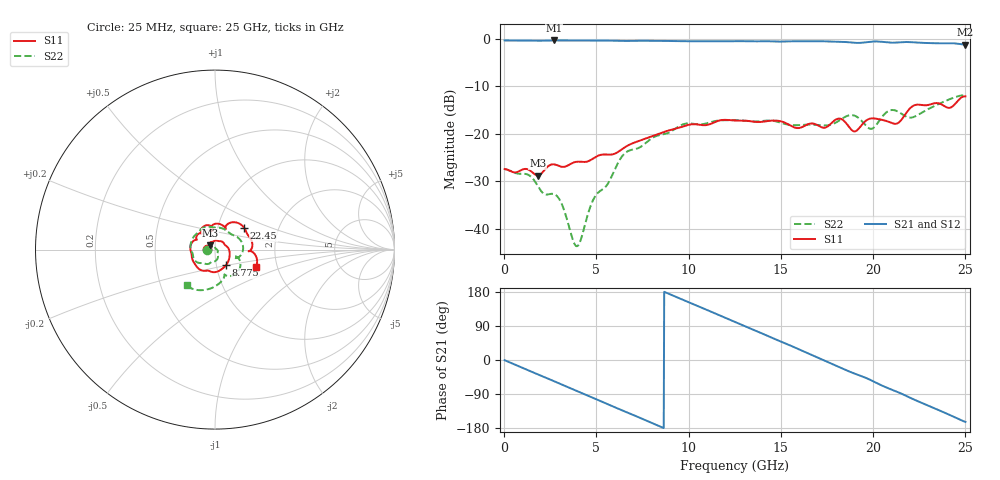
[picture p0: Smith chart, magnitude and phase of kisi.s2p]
! RG_ts6_sw_pwr: Finite board 24 × 16 mm, ThunderScope stack, via F → In3 (stub to B) through In1 GND / In2 PWR / In4 GND, four GND vias at 1 mm joined to In1 and In4 (openings in In2)
! stackup: ThunderScope Rev5.3 6-layer with the In2 plane
! ports: 1 F, 2 In3
! kisi-fdtd, conformal, dfine 0.035 mm (the cell at metal ÷ 2), 1648128 cells
# Hz S RI R 50
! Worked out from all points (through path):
!   1000 points, 25 MHz to 25 GHz, reference 50 ohm
!   highest |S21| = -0.36 dB at 2.7 GHz (marker M1); lowest = -1.3 dB at 25 GHz (marker M2)
!   group delay of S21, straight-line fit = 58 ps
!   lowest |S11| = -28.8 dB at 1.825 GHz (marker M3), VSWR 1.08, Z = 47.2 + j2.18 ohm
!   |S11| at or under -10 dB: start of sweep to end of sweep
!   |S22| runs from -43.6 to -11.9 dB; largest |S21 - S12| = 0.0097
!   S11 on the Smith chart (normalised r, x): 25 MHz: 0.92, +0.00; 8.775 GHz: 1.12, -0.19; 22.45 GHz: 1.34, +0.34; 25 GHz: 1.55, -0.33
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2.5e7  -0.0425 0.000634  0.9597 -0.00878  0.9584 -0.0086  -0.0424 0.000534
1.825e9  -0.0282 0.023  0.7524 -0.5856  0.754 -0.5857  -0.0212 0.0187
2.7e9  -0.023 0.0418  0.5377 -0.7951  0.5372 -0.7936  -0.0157 0.0172
3.15e9  -0.0119 0.0433  0.3987 -0.8701  0.4002 -0.8705  -0.00486 0.0171
3.825e9  0.00169 0.0503  0.1784 -0.9414  0.1771 -0.9409  0.00283 0.00625
4.2e9  0.0131 0.049  0.047 -0.9569  0.0477 -0.9558  0.00745 0.0034
4.825e9  0.0277 0.0475  -0.1673 -0.9404  -0.1677 -0.9416  0.0155 -0.0129
6.375e9  0.0662 0.0177  -0.6379 -0.7005  -0.6389 -0.701  0.0104 -0.0564
8.35e9  0.0732 -0.0673  -0.9436 -0.1112  -0.9426 -0.1102  -0.0552 -0.0788
8.775e9  0.0624 -0.0861  -0.9483 0.0372  -0.9478 0.0358  -0.0671 -0.0745
1.05e10  -0.0223 -0.1232  -0.7432 0.5769  -0.7449 0.577  -0.1228 -0.0278
1.2525e10  -0.1122 -0.0802  -0.169 0.9287  -0.1671 0.9281  -0.127 0.0567
1.44e10  -0.1371 0.00174  0.4565 0.8222  0.4545 0.822  -0.0656 0.1213
1.6675e10  -0.0982 0.0829  0.9181 0.2185  0.9187 0.2165  0.0491 0.1149
1.8375e10  -0.032 0.1354  0.8521 -0.3679  0.8501 -0.3684  0.1328 0.0627
1.9e10  -0.0166 0.1047  0.7334 -0.5323  0.7354 -0.5312  0.1548 -0.00892
1.99e10  0.0105 0.1448  0.5526 -0.7517  0.5504 -0.7505  0.1056 -0.0399
2.085e10  0.0588 0.12  0.2343 -0.8812  0.2337 -0.8843  0.1364 -0.1089
2.135e10  0.0561 0.117  0.0833 -0.9118  0.0811 -0.9089  0.0865 -0.1475
2.245e10  0.1622 0.1218  -0.3004 -0.8577  -0.3053 -0.8586  0.0518 -0.1504
2.415e10  0.1873 -0.00881  -0.7366 -0.5143  -0.7358 -0.5064  -0.0562 -0.2244
2.5e10  0.2273 -0.0987  -0.8294 -0.2486  -0.8379 -0.2534  -0.1574 -0.1999
